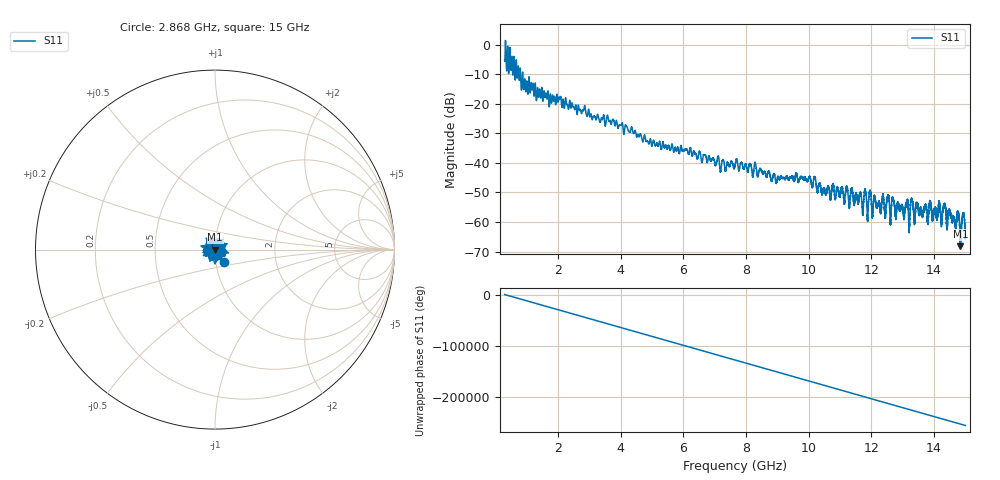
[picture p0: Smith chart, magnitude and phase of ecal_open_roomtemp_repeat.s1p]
# GHZ S RI R 50.0
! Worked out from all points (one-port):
!   12801 points, 300 MHz to 15 GHz, reference 50 ohm
!   lowest |S11| = -68.2 dB at 14.84 GHz (marker M1), VSWR 1.00, Z = 50 - j0.0194 ohm
!   |S11| at or under -10 dB: 749.1 MHz to 786.6 MHz (37.49 MHz wide, 4.88 % of centre); 808.1 MHz to 867.9 MHz (59.75 MHz wide, 7.13 % of centre); 878.5 MHz to end of sweep (the widest 3 of 6)
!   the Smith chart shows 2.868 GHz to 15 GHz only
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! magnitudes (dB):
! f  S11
! 300 MHz  -5.3
! 532 MHz  -4.0
! 976.4 MHz  -16.0
! 1.141 GHz  -13.4
! 1.373 GHz  -17.2
! 2.03 GHz  -17.9
! 2.138 GHz  -21.2
! 3.975 GHz  -27.2
! 4.864 GHz  -32.7
! 5.812 GHz  -35.0
! 7.387 GHz  -40.5
! 7.65 GHz  -40.9
! 9.004 GHz  -45.0
! 9.488 GHz  -44.4
! 9.996 GHz  -45.1
! 10.48 GHz  -48.9
! 11.32 GHz  -51.9
! 12.25 GHz  -53.5
! 12.52 GHz  -51.3
! 12.99 GHz  -54.5
! 13.12 GHz  -53.8
! 13.16 GHz  -53.7
! 13.3 GHz  -52.5
! 13.58 GHz  -55.5
! 14.32 GHz  -54.3
! 14.84 GHz  -68.2
! 14.93 GHz  -57.5
! 15 GHz  -65.8
